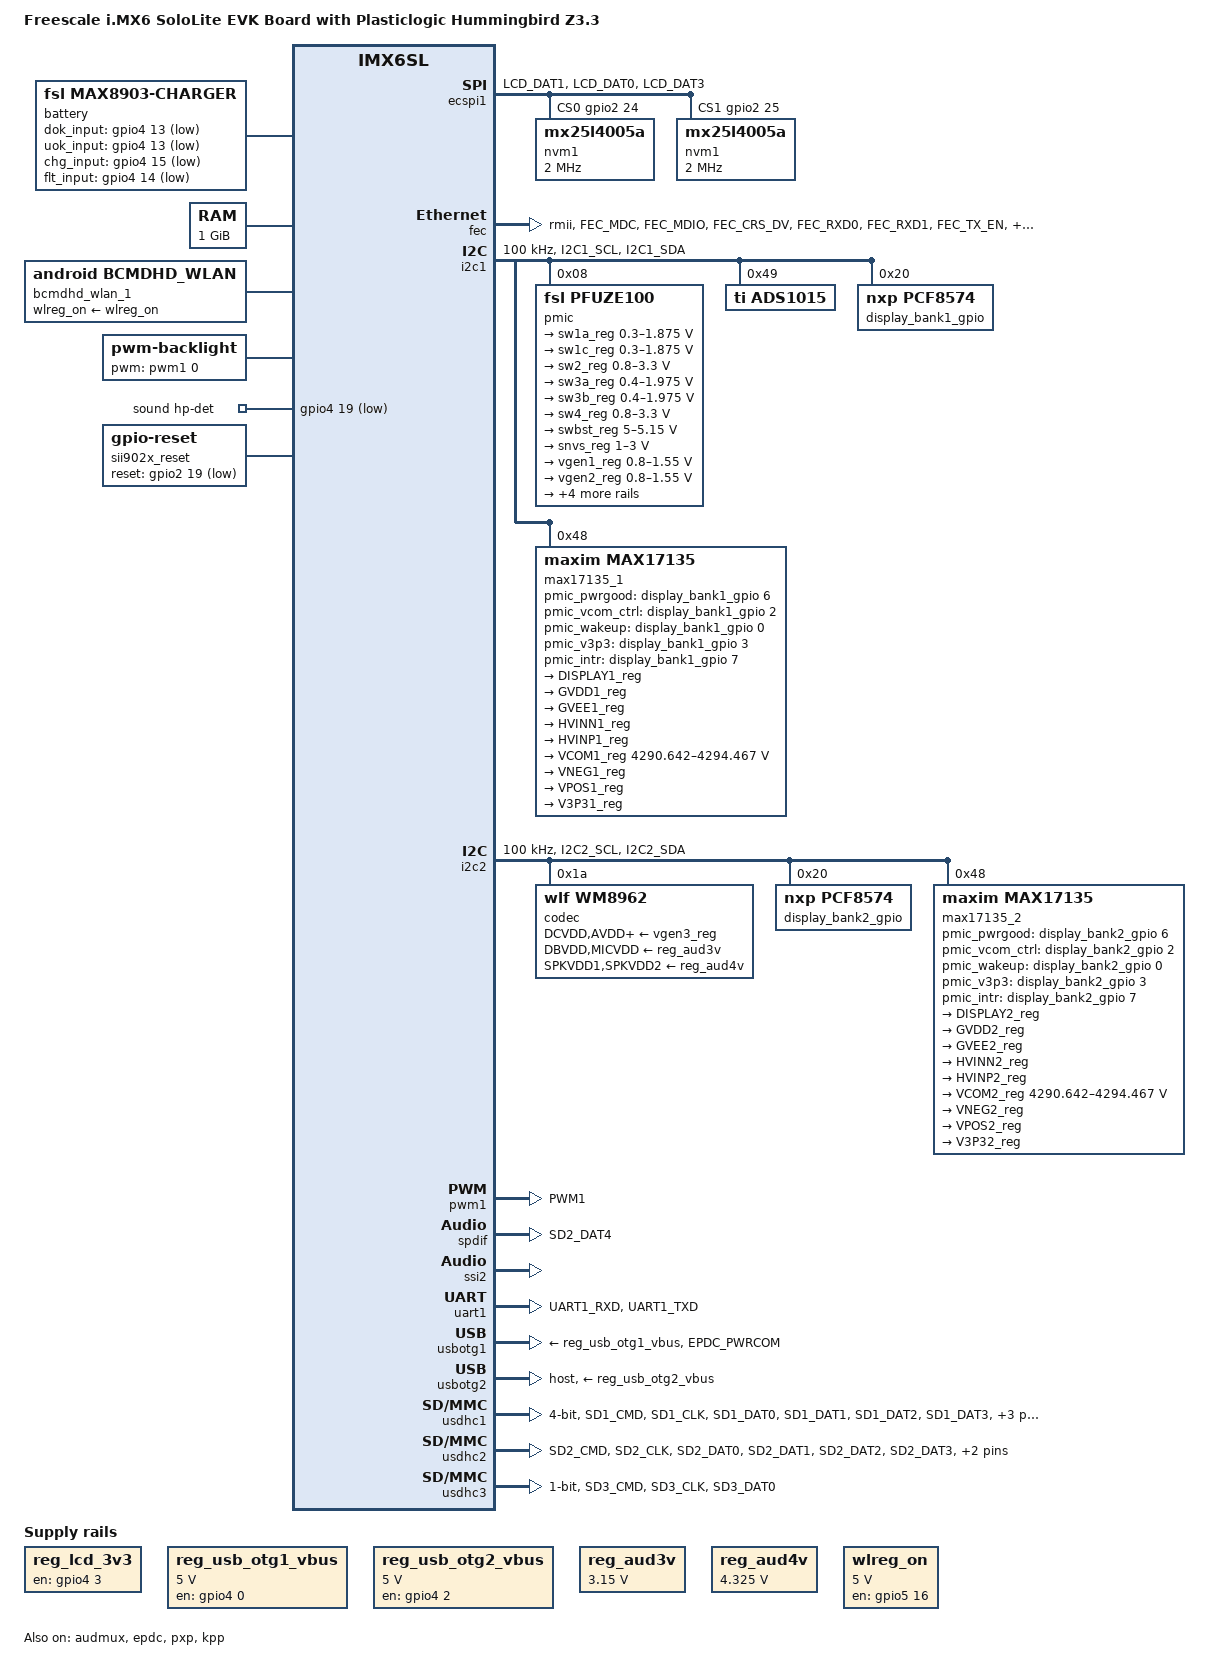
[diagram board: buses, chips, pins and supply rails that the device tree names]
/*
 * Copyright (C) 2013-2014 Freescale Semiconductor, Inc.
 *
 * This program is free software; you can redistribute it and/or modify
 * it under the terms of the GNU General Public License version 2 as
 * published by the Free Software Foundation.
 */

/dts-v1/;
#include <dt-bindings/gpio/gpio.h>
#include <dt-bindings/interrupt-controller/irq.h>
#include <dt-bindings/input/input.h>
#include "imx6sl.dtsi"

/ {
	model = "Freescale i.MX6 SoloLite EVK Board with Plasticlogic Hummingbird Z3.3";
	compatible = "fsl,imx6sl-evk", "fsl,imx6sl";

	battery: max8903@0 {
		compatible = "fsl,max8903-charger";
		pinctrl-names = "default";
		dok_input = <&gpio4 13 1>;
		uok_input = <&gpio4 13 1>;
		chg_input = <&gpio4 15 1>;
		flt_input = <&gpio4 14 1>;
		fsl,dcm_always_high;
		fsl,dc_valid;
		fsl,adc_disable;
		status = "okay";
	};

	memory {
		reg = <0x80000000 0x40000000>;
	};

	regulators {
		compatible = "simple-bus";
		#address-cells = <1>;
		#size-cells = <0>;

		reg_lcd_3v3: lcd-3v3 {
			compatible = "regulator-fixed";
			regulator-name = "lcd-3v3";
			gpio = <&gpio4 3 0>;
			enable-active-high;
		};

		reg_usb_otg1_vbus: regulator@0 {
			compatible = "regulator-fixed";
			reg = <0>;
			regulator-name = "usb_otg1_vbus";
			regulator-min-microvolt = <5000000>;
			regulator-max-microvolt = <5000000>;
			gpio = <&gpio4 0 0>;
			enable-active-high;
		};

		reg_usb_otg2_vbus: regulator@1 {
			compatible = "regulator-fixed";
			reg = <1>;
			regulator-name = "usb_otg2_vbus";
			regulator-min-microvolt = <5000000>;
			regulator-max-microvolt = <5000000>;
			gpio = <&gpio4 2 0>;
			enable-active-high;
		};

		reg_aud3v: regulator@2 {
			compatible = "regulator-fixed";
			reg = <2>;
			regulator-name = "wm8962-supply-3v15";
			regulator-min-microvolt = <3150000>;
			regulator-max-microvolt = <3150000>;
			regulator-boot-on;
		};

		reg_aud4v: regulator@3 {
			compatible = "regulator-fixed";
			reg = <3>;
			regulator-name = "wm8962-supply-4v2";
			regulator-min-microvolt = <4325000>;
			regulator-max-microvolt = <4325000>;
			regulator-boot-on;
		};
		wlreg_on: fixedregulator@100 {
			compatible = "regulator-fixed";
			regulator-min-microvolt = <5000000>;
			regulator-max-microvolt = <5000000>;
			regulator-name = "wlreg_on";
			gpio = <&gpio5 16 0>;
			startup-delay-us = <100>;
			enable-active-high;
		};

	};

	bcmdhd_wlan_1: bcmdhd_wlan@0 {
	       compatible = "android,bcmdhd_wlan";
	       wlreg_on-supply = <&wlreg_on>;
       };

	pwm-backlight {
		compatible = "pwm-backlight";
		pwms = <&pwm1 0 50000>;
		brightness-levels = <
			0  1  2  3  4  5  6  7  8  9
			10 11 12 13 14 15 16 17 18 19
			20 21 22 23 24 25 26 27 28 29
			30 31 32 33 34 35 36 37 38 39
			40 41 42 43 44 45 46 47 48 49
			50 51 52 53 54 55 56 57 58 59
			60 61 62 63 64 65 66 67 68 69
			70 71 72 73 74 75 76 77 78 79
			80 81 82 83 84 85 86 87 88 89
			90 91 92 93 94 95 96 97 98 99
			100 101 102 103 104 105 106 107 108 109
			110 111 112 113 114 115 116 117 118 119
			120 121 122 123 124 125 126 127 128 129
			130 131 132 133 134 135 136 137 138 139
			140 141 142 143 144 145 146 147 148 149
			150 151 152 153 154 155 156 157 158 159
			160 161 162 163 164 165 166 167 168 169
			170 171 172 173 174 175 176 177 178 179
			180 181 182 183 184 185 186 187 188 189
			190 191 192 193 194 195 196 197 198 199
			200 201 202 203 204 205 206 207 208 209
			210 211 212 213 214 215 216 217 218 219
			220 221 222 223 224 225 226 227 228 229
			230 231 232 233 234 235 236 237 238 239
			240 241 242 243 244 245 246 247 248 249
			250 251 252 253 254 255
			>;
		default-brightness-level = <255>;
	};

	ramoops_device {
		compatible = "fsl,mxc_ramoops";
		record_size = <524288>; /*512K*/
		console_size= <262144>; /*256K*/
		ftrace_size= <262144>;  /*256K*/
		dump_oops = <1>;
		status = "okay";
	};

	pxp_v4l2_out {
		compatible = "fsl,imx6sl-pxp-v4l2";
		status = "okay";
	};

	sound {
		compatible = "fsl,imx6q-sabresd-wm8962",
			   "fsl,imx-audio-wm8962";
		model = "wm8962-audio";
		cpu-dai = <&ssi2>;
		audio-codec = <&codec>;
		audio-routing =
			"Headphone Jack", "HPOUTL",
			"Headphone Jack", "HPOUTR",
			"Ext Spk", "SPKOUTL",
			"Ext Spk", "SPKOUTR",
			"AMIC", "MICBIAS",
			"IN3R", "AMIC";
		amic-mono;
		mux-int-port = <2>;
		mux-ext-port = <3>;
		hp-det-gpios = <&gpio4 19 1>;
	};

	sound-spdif {
		compatible = "fsl,imx-audio-spdif",
			   "fsl,imx6sl-evk-spdif";
		model = "imx-spdif";
		spdif-controller = <&spdif>;
		spdif-out;
	};

	sii902x_reset: sii902x-reset {
		compatible = "gpio-reset";
		reset-gpios = <&gpio2 19 1>;
		reset-delay-us = <100000>;
		#reset-cells = <0>;
	};
};

&audmux {
	pinctrl-names = "default";
	pinctrl-0 = <&pinctrl_audmux>;
	status = "okay";
};

&clks {
	assigned-clocks = <&clks IMX6SL_PLL4_BYPASS_SRC>,
			  <&clks IMX6SL_PLL4_BYPASS>,
			  <&clks IMX6SL_CLK_EXTERN_AUDIO_SEL>,
			  <&clks IMX6SL_CLK_EXTERN_AUDIO>,
			  <&clks IMX6SL_CLK_PLL4_POST_DIV>;
	assigned-clock-parents = <&clks IMX6SL_CLK_OSC>,
				<&clks IMX6SL_PLL4_BYPASS_SRC>,
				<&clks IMX6SL_CLK_PLL4_AUDIO_DIV>;
	assigned-clock-rates = <0>, <0>, <0>, <24000000>,
				<24000000>;
};
/*
&csi {
	port {
		csi_ep: endpoint {
			remote-endpoint = <&ov5640_ep>;
		};
	};
};
*/
&cpu0 {
	arm-supply = <&sw1a_reg>;
	soc-supply = <&sw1c_reg>;
};
/*
&ecspi1 {
	fsl,spi-num-chipselects = <1>;
	cs-gpios = <&gpio4 11 0>;
	pinctrl-names = "default";
	pinctrl-0 = <&pinctrl_ecspi1>;
	status = "okay";

	flash: m25p80@0 {
		#address-cells = <1>;
		#size-cells = <1>;
		compatible = "st,m25p32";
		spi-max-frequency = <20000000>;
		reg = <0>;
	};
};
*/

&ecspi1 {
	fsl,spi-num-chipselects = <2>;
	/* lcd_dat4 lcd_dat5 */
	cs-gpios =  <&gpio2 24 0>, 
				<&gpio2 25 0>;
	pinctrl-names = "default";
	pinctrl-0 = <&pinctrl_ecspi1>;
	status = "okay";
	/* NVM Flash on Plasticlogic Display */
	nvm1@0 {
		#address-cells = <1>;
		#size-cells = <1>;
		/*compatible = "st,m25p32";*/
		compatible = "mx25l4005a";
		reg = <0>;
		spi-max-frequency = <2000000>;
		mode = <0>;
		waveform@35000 {
			reg = <0x00035000 0x0003AFFF>;
			label = "waveform0";
			read-only;
		};
		partno@70000 {
			reg = <0x00070000 0x0000000F>;
			label = "partnumber0";
			read-only;
		};
		vcom@70010 {
			reg = <0x00070010 0x0000000F>;
			label = "vcom0";
			read-only;
		};
		wfname@70020 {
			reg = <0x00070020 0x0000001F>;
			label = "wfname0";
			read-only;
		};
		wflength@700AC {
			reg = <0x000700AC 0x00000004>;
			label = "wflength0";
			read-only;
		};
	};
	nvm1@1 {
		#address-cells = <1>;
		#size-cells = <1>;
		/*compatible = "st,m25p32";*/
		compatible = "mx25l4005a";
		reg = <1>;
		spi-max-frequency = <2000000>;
		mode = <0>;
		waveform@35000 {
			reg = <0x00035000 0x0003AFFF>;
			label = "waveform1";
			read-only;
		};
		partno@70000 {
			reg = <0x00070000 0x0000000F>;
			label = "partnumber1";
			read-only;
		};
		vcom@70010 {
			reg = <0x00070010 0x0000000F>;
			label = "vcom1";
			read-only;
		};
		wfname@70020 {
			reg = <0x00070020 0x0000001F>;
			label = "wfname1";
			read-only;
		};
		wflength@700AC {
			reg = <0x000700AC 0x00000004>;
			label = "wflength1";
			read-only;
		};
		
	};					
	
};


&epdc {
        pinctrl-names = "default";
        pinctrl-0 = <&pinctrl_epdc_0>;
        V3P3_1-supply = <&V3P31_reg>;
        VCOM1-supply = <&VCOM1_reg>;
        DISPLAY1-supply = <&DISPLAY1_reg>;
		V3P3_2-supply = <&V3P32_reg>;
        VCOM2-supply = <&VCOM2_reg>;
        DISPLAY2-supply = <&DISPLAY2_reg>;

	VCOM_SW1_gpio = <&display_bank1_gpio 1 0>;
	VCOM_SW2_gpio = <&display_bank2_gpio 1 0>;
	VS_LOW_SW1_gpio = <&display_bank1_gpio 4 0>;
	VS_HIGH_SW1_gpio = <&display_bank1_gpio 5 0>;
	VS_LOW_SW2_gpio = <&display_bank2_gpio 4 0>;
	VS_HIGH_SW2_gpio = <&display_bank2_gpio 5 0>;
        status = "okay";
};

&fec {
	pinctrl-names = "default", "sleep";
	pinctrl-0 = <&pinctrl_fec>;
	pinctrl-1 = <&pinctrl_fec_sleep>;
	phy-mode = "rmii";
	status = "okay";
};

&gpc {
	/* use ldo-bypass, u-boot will check it and configure */
	fsl,ldo-bypass = <1>;
	/* watchdog select of reset source */
	fsl,wdog-reset = <1>;
};

&i2c1 {
	clock-frequency = <100000>;
	pinctrl-names = "default";
	pinctrl-0 = <&pinctrl_i2c1>;
	status = "okay";

	pmic: pfuze100@08 {
		compatible = "fsl,pfuze100";
		reg = <0x08>;

		regulators {
			sw1a_reg: sw1ab {
				regulator-min-microvolt = <300000>;
				regulator-max-microvolt = <1875000>;
				regulator-boot-on;
				regulator-always-on;
				regulator-ramp-delay = <6250>;
			};

			sw1c_reg: sw1c {
				regulator-min-microvolt = <300000>;
				regulator-max-microvolt = <1875000>;
				regulator-boot-on;
				regulator-always-on;
				regulator-ramp-delay = <6250>;
			};

			sw2_reg: sw2 {
				regulator-min-microvolt = <800000>;
				regulator-max-microvolt = <3300000>;
				regulator-boot-on;
				regulator-always-on;
			};

			sw3a_reg: sw3a {
				regulator-min-microvolt = <400000>;
				regulator-max-microvolt = <1975000>;
				regulator-boot-on;
				regulator-always-on;
			};

			sw3b_reg: sw3b {
				regulator-min-microvolt = <400000>;
				regulator-max-microvolt = <1975000>;
				regulator-boot-on;
				regulator-always-on;
			};

			sw4_reg: sw4 {
				regulator-min-microvolt = <800000>;
				regulator-max-microvolt = <3300000>;
			};

			swbst_reg: swbst {
				regulator-min-microvolt = <5000000>;
				regulator-max-microvolt = <5150000>;
			};

			snvs_reg: vsnvs {
				regulator-min-microvolt = <1000000>;
				regulator-max-microvolt = <3000000>;
				regulator-boot-on;
				regulator-always-on;
			};

			vref_reg: vrefddr {
				regulator-boot-on;
				regulator-always-on;
			};

			vgen1_reg: vgen1 {
				regulator-min-microvolt = <800000>;
				regulator-max-microvolt = <1550000>;
				regulator-always-on;
			};

			vgen2_reg: vgen2 {
				regulator-min-microvolt = <800000>;
				regulator-max-microvolt = <1550000>;
			};

			vgen3_reg: vgen3 {
				regulator-min-microvolt = <1800000>;
				regulator-max-microvolt = <3300000>;
				regulator-always-on;
			};

			vgen4_reg: vgen4 {
				regulator-min-microvolt = <1800000>;
				regulator-max-microvolt = <3300000>;
				regulator-always-on;
			};

			vgen5_reg: vgen5 {
				regulator-min-microvolt = <1800000>;
				regulator-max-microvolt = <3300000>;
				regulator-always-on;
			};

			vgen6_reg: vgen6 {
				regulator-min-microvolt = <1800000>;
				regulator-max-microvolt = <3300000>;
				regulator-always-on;
			};
		};
	};

	elan@10 {
		compatible = "elan,elan-touch";
		reg = <0x10>;
		interrupt-parent = <&gpio2>;
		interrupts = <10 2>;
		gpio_elan_cs = <&gpio2 9 0>;
		gpio_elan_rst = <&gpio4 4 0>;
		gpio_intr = <&gpio2 10 0>;
		status = "disabled";
	};

	mma8450@1c {
		compatible = "fsl,mma8450";
		reg = <0x1c>;
		status = "disabled";
	};

	/* PL ADC device */
	ads1015@49 {
		compatible = "ti,ads1015";
		reg = <0x49>;
		#address-cells = <1>;
		#size-cells = <0>;

		/*VCOM1*/
		channel@4 {
			reg = <4>;
			ti,gain = <2>;
			ti,datarate = <6>;
		};
		/*VCOM2*/
		channel@5 {
			reg = <5>;
			ti,gain = <2>;
			ti,datarate = <2>;
		};
		/*DISP1 current*/
		channel@6 {
			reg = <6>;
			ti,gain = <2>;
			ti,datarate = <0>;
		};
		/*DISP2 current*/
		channel@7 {
			reg = <7>;
			ti,gain = <2>;
			ti,datarate = <4>;
		};
	};
	
	/* PL GPIO Port Expander for Display 1*/
		/* HV_EN1 */
		/* COM_SW1 */
		/* COM_EN1 */
		/* Disp1_PWR */
		/* VSL_SW1 */
		/* VSH_SW1 */
		/* HV_POK1 */
		/* PMIC1_FLT */
	display_bank1_gpio: gpio@20 {
		compatible = "nxp,pcf8574";
		reg = <0x20>;
		/*interrupt-parent = <&i2c1>;*/
		/*interrupts = <3 0>;*/
		gpio-controller;
		#gpio-cells = <2>;
		/*gpio-ranges = <&pinctrl_display_bank1 0 0 8>;*/
		/*interrupt-controller;*/
		/*#interrupt-cells = <2>;*/
	};

	max17135_1@48 {
		compatible = "maxim,max17135" , "maxim,max17135-sensor";
		reg = <0x48>;
		vneg_pwrup = <0>;
		gvee_pwrup = <0>;
		vpos_pwrup = <2>;
		gvdd_pwrup = <5>;
		gvdd_pwrdn = <0>;
		vpos_pwrdn = <0>;
		gvee_pwrdn = <0>;
		vneg_pwrdn = <1>;
		gpio_pmic_pwrgood = <&display_bank1_gpio 6 0>;
		gpio_pmic_vcom_ctrl = <&display_bank1_gpio 2 0>;
		gpio_pmic_wakeup = <&display_bank1_gpio 0 0>;
		gpio_pmic_v3p3 = <&display_bank1_gpio 3 0>;
		gpio_pmic_intr = <&display_bank1_gpio 7 0>;
		status = "okay";
		sensors {
			INTERNAL1_sensor: INTERNAL {
				sensor-name = "INTERNAL_1";
			};
			EXTERNAL1_sensor: EXTERNAL {
				sensor-name = "EXTERNAL_1";
			};
		};
		regulators {
			DISPLAY1_reg: DISPLAY {
				regulator-name = "DISPLAY_1";
			};

			GVDD1_reg: GVDD {
				regulator-name = "GVDD_1";
			};

			GVEE1_reg: GVEE {
				regulator-name = "GVEE_1";
			};

			HVINN1_reg: HVINN {
				regulator-name = "HVINN_1";
			};

			HVINP1_reg: HVINP {
				regulator-name = "HVINP_1";
			};

			VCOM1_reg: VCOM {
				regulator-name = "VCOM_1";
				regulator-min-microvolt = <0xffbe0178>;
				regulator-max-microvolt = <0xfff85ee0>;
			};

			VNEG1_reg: VNEG {
				regulator-name = "VNEG_1";
			};

			VPOS1_reg: VPOS {
				regulator-name = "VPOS_1";
			};

			V3P31_reg: V3P3 {
				regulator-name = "V3P3_1";
			};
		};
	};

};

&i2c2 {
	clock-frequency = <100000>;
	pinctrl-names = "default";
	pinctrl-0 = <&pinctrl_i2c2>;
	status = "okay";

	codec: wm8962@1a {
		compatible = "wlf,wm8962";
		reg = <0x1a>;
		clocks = <&clks IMX6SL_CLK_EXTERN_AUDIO>;
		DCVDD-supply = <&vgen3_reg>;
		DBVDD-supply = <&reg_aud3v>;
		AVDD-supply = <&vgen3_reg>;
		CPVDD-supply = <&vgen3_reg>;
		MICVDD-supply = <&reg_aud3v>;
		PLLVDD-supply = <&vgen3_reg>;
		SPKVDD1-supply = <&reg_aud4v>;
		SPKVDD2-supply = <&reg_aud4v>;
		amic-mono;
	};
/*
	sii902x@39 {
		compatible = "SiI,sii902x";
		interrupt-parent = <&gpio2>;
		interrupts = <10 2>;
		mode_str ="1280x720M@60";
		bits-per-pixel = <32>;
		resets = <&sii902x_reset>;
		reg = <0x39>;
	};
*/
	/* PL GPIO Port Expander for Display 2*/
		/* HV_EN2 */
		/* COM_SW2 */
		/* COM_EN2 */
		/* Disp2_PWR */
		/* VSL_SW2 */
		/* VSH_SW2 */
		/* HV_POK2 */
		/* PMIC2_FLT */
	display_bank2_gpio: gpio@20 {
		compatible = "nxp,pcf8574";
		reg = <0x20>;
		/*interrupt-parent = <&i2c2>;*/
		/*interrupts = <3 0>;*/
		gpio-controller;
		#gpio-cells = <2>;
		/*gpio-ranges = <&pinctrl_display_bank2 0 0 8>;*/
		/*interrupt-controller;*/
		/*#interrupt-cells = <2>;*/
	};
	
	max17135_2@48 {
		compatible = "maxim,max17135";
		reg = <0x48>;
		vneg_pwrup = <0>;
		gvee_pwrup = <0>;
		vpos_pwrup = <2>;
		gvdd_pwrup = <5>;
		gvdd_pwrdn = <0>;
		vpos_pwrdn = <0>;
		gvee_pwrdn = <0>;
		vneg_pwrdn = <1>;
		gpio_pmic_pwrgood = <&display_bank2_gpio 6 0>;
		gpio_pmic_vcom_ctrl = <&display_bank2_gpio 2 0>;
		gpio_pmic_wakeup = <&display_bank2_gpio 0 0>;
		gpio_pmic_v3p3 = <&display_bank2_gpio 3 0>;
		gpio_pmic_intr = <&display_bank2_gpio 7 0>;
		status = "okay";
		sensors {
			INTERNAL2_sensor: INTERNAL {
				sensor-name = "INTERNAL_2";
			};
			EXTERNAL2_sensor: EXTERNAL {
				sensor-name = "EXTERNAL_2";
			};
		};
		regulators {
			DISPLAY2_reg: DISPLAY {
				regulator-name = "DISPLAY_2";
			};

			GVDD2_reg: GVDD {
				regulator-name = "GVDD_2";
			};

			GVEE2_reg: GVEE {
				regulator-name = "GVEE_2";
			};

			HVINN2_reg: HVINN {
				regulator-name = "HVINN_2";
			};

			HVINP2_reg: HVINP {
				regulator-name = "HVINP_2";
			};

			VCOM2_reg: VCOM {
				regulator-name = "VCOM_2";
				regulator-min-microvolt = <0xffbe0178>;
				regulator-max-microvolt = <0xfff85ee0>;
			};

			VNEG2_reg: VNEG {
				regulator-name = "VNEG_2";
			};

			VPOS2_reg: VPOS {
				regulator-name = "VPOS_2";
			};

			V3P32_reg: V3P3 {
				regulator-name = "V3P3_2";
			};
		};
	};
};

&i2c3 {
	clock-frequency = <100000>;
	pinctrl-names = "default";
	pinctrl-0 = <&pinctrl_i2c3>;
	status = "disabled";
/*
	ov5640: ov5640@3c {
		compatible = "ovti,ov5640";
		reg = <0x3c>;
		pinctrl-names = "default";
		pinctrl-0 = <&pinctrl_csi_0>;
		clocks = <&clks IMX6SL_CLK_CSI>;
		clock-names = "csi_mclk";
		AVDD-supply = <&vgen6_reg>;  
		DVDD-supply = <&vgen2_reg>;  
		pwn-gpios = <&gpio1 25 1>;
		rst-gpios = <&gpio1 26 0>;
		csi_id = <0>;
		mclk = <24000000>;
		mclk_source = <0>;
		port {
			ov5640_ep: endpoint {
				remote-endpoint = <&csi_ep>;
			};
		};
	};
*/
};

&iomuxc {
	pinctrl-names = "default";
	pinctrl-0 = <&pinctrl_hog>;

	imx6sl-evk {
		pinctrl_hog: hoggrp {
			fsl,pins = <
				MX6SL_PAD_KEY_ROW7__GPIO4_IO07    0x17059
				MX6SL_PAD_KEY_COL7__GPIO4_IO06    0x17059
				MX6SL_PAD_SD2_DAT7__GPIO5_IO00    0x17059
				MX6SL_PAD_SD2_DAT6__GPIO4_IO29    0x17059
				MX6SL_PAD_REF_CLK_32K__GPIO3_IO22 0x17059
				MX6SL_PAD_KEY_COL4__GPIO4_IO00	0x80000000
				MX6SL_PAD_KEY_COL5__GPIO4_IO02	0x80000000
				MX6SL_PAD_ECSPI2_MISO__GPIO4_IO14 0x17000
				MX6SL_PAD_ECSPI2_MOSI__GPIO4_IO13 0x17000
				MX6SL_PAD_ECSPI2_SS0__GPIO4_IO15  0x17000
				MX6SL_PAD_FEC_RX_ER__GPIO4_IO19   0x1b0b0
				/*MX6SL_PAD_EPDC_PWRCTRL3__GPIO2_IO10 0x17000*/
				/*MX6SL_PAD_EPDC_PWRCTRL2__GPIO2_IO09 0x80000000*/
				MX6SL_PAD_KEY_COL6__GPIO4_IO04    0x110b0
				MX6SL_PAD_LCD_RESET__GPIO2_IO19   0x1b0b0
				/*MX6SL_PAD_EPDC_PWRCOM__GPIO2_IO11 0x80000000*/
				/*MX6SL_PAD_EPDC_VCOM0__GPIO2_IO03 0x80000000*/
				/*MX6SL_PAD_EPDC_VCOM1__GPIO2_IO04 0x80000000*/
				/*MX6SL_PAD_EPDC_PWRCTRL0__GPIO2_IO07 0x80000000*/
				/*MX6SL_PAD_EPDC_PWRSTAT__GPIO2_IO13 0x80000000*/
				/*MX6SL_PAD_EPDC_PWRWAKEUP__GPIO2_IO14 0x80000000*/
				MX6SL_PAD_ECSPI1_MISO__GPIO4_IO10	0x100b1
				MX6SL_PAD_ECSPI1_MOSI__GPIO4_IO09	0x100b1
				MX6SL_PAD_ECSPI1_SCLK__GPIO4_IO08	0x100b1
				/*MX6SL_PAD_LCD_DAT2__GPIO2_IO22 0x1b0b0*/
				/*MX6SL_PAD_LCD_DAT4__GPIO2_IO24 0x1b0b0*/
				/*MX6SL_PAD_LCD_DAT5__GPIO2_IO25 0x1b0b0*/
				/*MX6SL_PAD_LCD_DAT6__GPIO2_IO26 0x1b0b0*/
			>;
		};

                pinctrl_audmux: audmuxgrp {
                        fsl,pins = <
                                MX6SL_PAD_AUD_RXD__AUD3_RXD       0x4130b0
                                MX6SL_PAD_AUD_TXC__AUD3_TXC       0x4130b0
                                MX6SL_PAD_AUD_TXD__AUD3_TXD       0x4110b0
                                MX6SL_PAD_AUD_TXFS__AUD3_TXFS     0x4130b0
                                MX6SL_PAD_AUD_MCLK__AUDIO_CLK_OUT 0x4130b0
                        >;
                };


		pinctrl_ecspi1: ecspi1grp {
			fsl,pins = <
				MX6SL_PAD_LCD_DAT1__ECSPI1_MISO	0x1b0b0
				MX6SL_PAD_LCD_DAT0__ECSPI1_MOSI	0x1b0b0
				MX6SL_PAD_LCD_DAT3__ECSPI1_SCLK	0x1b0b0
				/*MX6SL_PAD_LCD_DAT2__ECSPI1_SS0	0x1b0b0
				MX6SL_PAD_LCD_DAT4__ECSPI1_SS1	0x1b0b0
				MX6SL_PAD_LCD_DAT5__ECSPI1_SS2	0x1b0b0*/

			/*
				MX6SL_PAD_ECSPI1_MISO__ECSPI1_MISO	0x100b1
				MX6SL_PAD_ECSPI1_MOSI__ECSPI1_MOSI	0x100b1
				MX6SL_PAD_ECSPI1_SCLK__ECSPI1_SCLK	0x100b1
				*/
			>;
		};
		
		pinctrl_ecspi2: ecspi2grp {
			fsl,pins = <
				MX6SL_PAD_ECSPI2_MISO__ECSPI2_MISO	0x100b1
				MX6SL_PAD_ECSPI2_MOSI__ECSPI2_MOSI	0x100b1
				MX6SL_PAD_ECSPI2_SCLK__ECSPI2_SCLK	0x100b1
			>;
		};

        pinctrl_epdc_0: epdcgrp-0 {
             fsl,pins = <
				MX6SL_PAD_EPDC_D0__EPDC_DATA00  0x80000000
				MX6SL_PAD_EPDC_D1__EPDC_DATA01  0x80000000
				MX6SL_PAD_EPDC_D2__EPDC_DATA02  0x80000000
				MX6SL_PAD_EPDC_D3__EPDC_DATA03  0x80000000
				MX6SL_PAD_EPDC_D4__EPDC_DATA04  0x80000000
				MX6SL_PAD_EPDC_D5__EPDC_DATA05  0x80000000
				MX6SL_PAD_EPDC_D6__EPDC_DATA06  0x80000000
				MX6SL_PAD_EPDC_D7__EPDC_DATA07  0x80000000
				MX6SL_PAD_EPDC_D8__EPDC_DATA08  0x80000000
				MX6SL_PAD_EPDC_D9__EPDC_DATA09  0x80000000
				MX6SL_PAD_EPDC_D10__EPDC_DATA10 0x80000000
				MX6SL_PAD_EPDC_D11__EPDC_DATA11 0x80000000
				MX6SL_PAD_EPDC_D12__EPDC_DATA12 0x80000000
				MX6SL_PAD_EPDC_D13__EPDC_DATA13 0x80000000
				MX6SL_PAD_EPDC_D14__EPDC_DATA14 0x80000000
				MX6SL_PAD_EPDC_D15__EPDC_DATA15 0x80000000
				MX6SL_PAD_EPDC_GDCLK__EPDC_GDCLK 0x80000000
				MX6SL_PAD_EPDC_GDSP__EPDC_GDSP   0x80000000
				MX6SL_PAD_EPDC_GDOE__EPDC_GDOE   0x80000000
				MX6SL_PAD_EPDC_GDRL__EPDC_GDRL   0x80000000
				MX6SL_PAD_EPDC_SDCLK__EPDC_SDCLK_P 0x80000000
				MX6SL_PAD_EPDC_SDOE__EPDC_SDOE   0x80000000
				MX6SL_PAD_EPDC_SDLE__EPDC_SDLE   0x80000000
				MX6SL_PAD_EPDC_SDSHR__EPDC_SDSHR 0x80000000
				MX6SL_PAD_EPDC_BDR0__EPDC_BDR0   0x80000000
				MX6SL_PAD_EPDC_SDCE0__EPDC_SDCE0 0x80000000
				MX6SL_PAD_EPDC_SDCE1__EPDC_SDCE1 0x80000000
				MX6SL_PAD_EPDC_SDCE2__EPDC_SDCE2 0x80000000
                        >;
                };
/*
		pinctrl_epdc_pl_init: epdcgrp-1 {
			fsl,pins = <
				MX6SL_PAD_EPDC_GDCLK__GPIO1_IO31	0x80000000
				MX6SL_PAD_EPDC_GDSP__GPIO2_IO02		0x80000000
			>;
		};
		
		pinctrl_epdc_pl_init: epdcgrp-1 {
			fsl,pins = <
				MX6SL_PAD_EPDC_GDCLK__GPIO1_IO31	0x80000000
				MX6SL_PAD_EPDC_GDSP__GPIO2_IO02		0x80000000
			>;
		};
*/
		pinctrl_fec: fecgrp {
			fsl,pins = <
				MX6SL_PAD_FEC_MDC__FEC_MDC		0x1b0b0
				MX6SL_PAD_FEC_MDIO__FEC_MDIO		0x1b0b0
				MX6SL_PAD_FEC_CRS_DV__FEC_RX_DV		0x1b0b0
				MX6SL_PAD_FEC_RXD0__FEC_RX_DATA0	0x1b0b0
				MX6SL_PAD_FEC_RXD1__FEC_RX_DATA1	0x1b0b0
				MX6SL_PAD_FEC_TX_EN__FEC_TX_EN		0x1b0b0
				MX6SL_PAD_FEC_TXD0__FEC_TX_DATA0	0x1b0b0
				MX6SL_PAD_FEC_TXD1__FEC_TX_DATA1	0x1b0b0
				MX6SL_PAD_FEC_REF_CLK__FEC_REF_OUT	0x4001b0a8
			>;
		};

		pinctrl_fec_sleep: fecgrp-sleep {
			fsl,pins = <
				MX6SL_PAD_FEC_MDC__GPIO4_IO23		0x3080
				MX6SL_PAD_FEC_MDIO__GPIO4_IO20		0x3080
				MX6SL_PAD_FEC_CRS_DV__GPIO4_IO25	0x3080
				MX6SL_PAD_FEC_RXD0__GPIO4_IO17		0x3080
				MX6SL_PAD_FEC_RXD1__GPIO4_IO18		0x3080
				MX6SL_PAD_FEC_TX_EN__GPIO4_IO22		0x3080
				MX6SL_PAD_FEC_TXD0__GPIO4_IO24		0x3080
				MX6SL_PAD_FEC_TXD1__GPIO4_IO16		0x3080
				MX6SL_PAD_FEC_REF_CLK__GPIO4_IO26	0x3080
			>;
		};

		pinctrl_i2c1: i2c1grp {
			fsl,pins = <
				MX6SL_PAD_I2C1_SCL__I2C1_SCL 0x4001b8b1
				MX6SL_PAD_I2C1_SDA__I2C1_SDA 0x4001b8b1
			>;
		};

		pinctrl_i2c2: i2c2grp {
			fsl,pins = <
				MX6SL_PAD_I2C2_SCL__I2C2_SCL 0x4001b8b1
				MX6SL_PAD_I2C2_SDA__I2C2_SDA 0x4001b8b1
			>;
		};

		pinctrl_i2c3: i2c3grp {
			fsl,pins = <
				MX6SL_PAD_EPDC_SDCE2__I2C3_SCL 0x4001b8b1
				MX6SL_PAD_EPDC_SDCE3__I2C3_SDA 0x4001b8b1
			>;
		};

		pinctrl_kpp: kppgrp {
			fsl,pins = <
				MX6SL_PAD_KEY_ROW0__KEY_ROW0    0x1b010
				MX6SL_PAD_KEY_ROW1__KEY_ROW1    0x1b010
				MX6SL_PAD_KEY_ROW2__KEY_ROW2    0x1b0b0
				MX6SL_PAD_KEY_COL0__KEY_COL0    0x110b0
				MX6SL_PAD_KEY_COL1__KEY_COL1    0x110b0
				MX6SL_PAD_KEY_COL2__KEY_COL2    0x110b0
			>;
		};

		pinctrl_lcdif_dat: lcdifdatgrp {
			fsl,pins = <
			/*
				MX6SL_PAD_LCD_DAT0__LCD_DATA00 0x1b0b0
				MX6SL_PAD_LCD_DAT1__LCD_DATA01 0x1b0b0
				MX6SL_PAD_LCD_DAT2__LCD_DATA02 0x1b0b0
				MX6SL_PAD_LCD_DAT3__LCD_DATA03 0x1b0b0
				MX6SL_PAD_LCD_DAT4__LCD_DATA04 0x1b0b0
				MX6SL_PAD_LCD_DAT5__LCD_DATA05 0x1b0b0*/
				MX6SL_PAD_LCD_DAT6__LCD_DATA06 0x1b0b0
				MX6SL_PAD_LCD_DAT7__LCD_DATA07 0x1b0b0
				MX6SL_PAD_LCD_DAT8__LCD_DATA08 0x1b0b0
				MX6SL_PAD_LCD_DAT9__LCD_DATA09 0x1b0b0
				MX6SL_PAD_LCD_DAT10__LCD_DATA10 0x1b0b0
				MX6SL_PAD_LCD_DAT11__LCD_DATA11 0x1b0b0
				MX6SL_PAD_LCD_DAT12__LCD_DATA12 0x1b0b0
				MX6SL_PAD_LCD_DAT13__LCD_DATA13 0x1b0b0
				MX6SL_PAD_LCD_DAT14__LCD_DATA14 0x1b0b0
				MX6SL_PAD_LCD_DAT15__LCD_DATA15 0x1b0b0
				MX6SL_PAD_LCD_DAT16__LCD_DATA16 0x1b0b0
				MX6SL_PAD_LCD_DAT17__LCD_DATA17 0x1b0b0
				MX6SL_PAD_LCD_DAT18__LCD_DATA18 0x1b0b0
				MX6SL_PAD_LCD_DAT19__LCD_DATA19 0x1b0b0
				MX6SL_PAD_LCD_DAT20__LCD_DATA20 0x1b0b0
				MX6SL_PAD_LCD_DAT21__LCD_DATA21 0x1b0b0
				MX6SL_PAD_LCD_DAT22__LCD_DATA22 0x1b0b0
				MX6SL_PAD_LCD_DAT23__LCD_DATA23 0x1b0b0
			>;
		};

		pinctrl_lcdif_ctrl: lcdifctrlgrp {
			fsl,pins = <
				MX6SL_PAD_LCD_CLK__LCD_CLK 0x1b0b0
				MX6SL_PAD_LCD_ENABLE__LCD_ENABLE 0x1b0b0
				MX6SL_PAD_LCD_HSYNC__LCD_HSYNC 0x1b0b0
				MX6SL_PAD_LCD_VSYNC__LCD_VSYNC 0x1b0b0
			>;
		};

		pinctrl_pwm1: pwm1grp {
			fsl,pins = <
				MX6SL_PAD_PWM1__PWM1_OUT 0x110b0
			>;
		};

		pinctrl_pwm1_sleep: pwm1grp-sleep {
			fsl,pins = <
				MX6SL_PAD_PWM1__GPIO3_IO23 0x3080
			>;
		};

		pinctrl_spdif: spdifgrp {
			fsl,pins = <
				MX6SL_PAD_SD2_DAT4__SPDIF_OUT 0x80000000
			>;
		};

		pinctrl_uart1: uart1grp {
			fsl,pins = <
				MX6SL_PAD_UART1_RXD__UART1_RX_DATA	0x1b0b1
				MX6SL_PAD_UART1_TXD__UART1_TX_DATA	0x1b0b1
			>;
		};

		pinctrl_uart4_1: uart4grp-1 {
			fsl,pins = <
				MX6SL_PAD_SD1_DAT4__UART4_RX_DATA	0x1b0b1
				MX6SL_PAD_SD1_DAT5__UART4_TX_DATA	0x1b0b1
				MX6SL_PAD_SD1_DAT7__UART4_CTS_B		0x1b0b1
				MX6SL_PAD_SD1_DAT6__UART4_RTS_B		0x1b0b1
			>;
		};

		pinctrl_uart4dte_1: uart4dtegrp-1 {
			fsl,pins = <
				MX6SL_PAD_SD1_DAT5__UART4_RX_DATA	0x1b0b1
				MX6SL_PAD_SD1_DAT4__UART4_TX_DATA	0x1b0b1
				MX6SL_PAD_SD1_DAT6__UART4_CTS_B		0x1b0b1
				MX6SL_PAD_SD1_DAT7__UART4_RTS_B		0x1b0b1
			>;
		};

		pinctrl_usbotg1: usbotg1grp {
			fsl,pins = <
				/*MX6SL_PAD_LCD_DAT1__USB_OTG1_ID	0x1b0b0*/
				MX6SL_PAD_EPDC_PWRCOM__USB_OTG1_ID	0x17059
			>;
		};
		
		pinctrl_usdhc1: usdhc1grp {
			fsl,pins = <
				MX6SL_PAD_SD1_CMD__SD1_CMD		0x17059
				MX6SL_PAD_SD1_CLK__SD1_CLK		0x10059
				MX6SL_PAD_SD1_DAT0__SD1_DATA0		0x17059
				MX6SL_PAD_SD1_DAT1__SD1_DATA1		0x17059
				MX6SL_PAD_SD1_DAT2__SD1_DATA2		0x17059
				MX6SL_PAD_SD1_DAT3__SD1_DATA3		0x17059
				MX6SL_PAD_SD3_DAT2__GPIO5_IO16		0x13069 /* WL_REG_ON */
			>;
		};

		pinctrl_usdhc1_100mhz: usdhc1grp100mhz {
			fsl,pins = <
				MX6SL_PAD_SD1_CMD__SD1_CMD		0x170b9
				MX6SL_PAD_SD1_CLK__SD1_CLK		0x100b9
				MX6SL_PAD_SD1_DAT0__SD1_DATA0		0x170b9
				MX6SL_PAD_SD1_DAT1__SD1_DATA1		0x170b9
				MX6SL_PAD_SD1_DAT2__SD1_DATA2		0x170b9
				MX6SL_PAD_SD1_DAT3__SD1_DATA3		0x170b9
				MX6SL_PAD_SD1_DAT4__SD1_DATA4		0x170b9
				MX6SL_PAD_SD1_DAT5__SD1_DATA5		0x170b9
				MX6SL_PAD_SD1_DAT6__SD1_DATA6		0x170b9
				MX6SL_PAD_SD1_DAT7__SD1_DATA7		0x170b9
			>;
		};

		pinctrl_usdhc1_200mhz: usdhc1grp200mhz {
			fsl,pins = <
				MX6SL_PAD_SD1_CMD__SD1_CMD		0x170f9
				MX6SL_PAD_SD1_CLK__SD1_CLK		0x100f9
				MX6SL_PAD_SD1_DAT0__SD1_DATA0		0x170f9
				MX6SL_PAD_SD1_DAT1__SD1_DATA1		0x170f9
				MX6SL_PAD_SD1_DAT2__SD1_DATA2		0x170f9
				MX6SL_PAD_SD1_DAT3__SD1_DATA3		0x170f9
				MX6SL_PAD_SD1_DAT4__SD1_DATA4		0x170f9
				MX6SL_PAD_SD1_DAT5__SD1_DATA5		0x170f9
				MX6SL_PAD_SD1_DAT6__SD1_DATA6		0x170f9
				MX6SL_PAD_SD1_DAT7__SD1_DATA7		0x170f9
			>;
		};

		pinctrl_usdhc2: usdhc2grp {
			fsl,pins = <
				MX6SL_PAD_SD2_CMD__SD2_CMD		0x17059
				MX6SL_PAD_SD2_CLK__SD2_CLK		0x10059
				MX6SL_PAD_SD2_DAT0__SD2_DATA0		0x17059
				MX6SL_PAD_SD2_DAT1__SD2_DATA1		0x17059
				MX6SL_PAD_SD2_DAT2__SD2_DATA2		0x17059
				MX6SL_PAD_SD2_DAT3__SD2_DATA3		0x17059
			>;
		};

		pinctrl_usdhc2_100mhz: usdhc2grp100mhz {
			fsl,pins = <
				MX6SL_PAD_SD2_CMD__SD2_CMD		0x170b9
				MX6SL_PAD_SD2_CLK__SD2_CLK		0x100b9
				MX6SL_PAD_SD2_DAT0__SD2_DATA0		0x170b9
				MX6SL_PAD_SD2_DAT1__SD2_DATA1		0x170b9
				MX6SL_PAD_SD2_DAT2__SD2_DATA2		0x170b9
				MX6SL_PAD_SD2_DAT3__SD2_DATA3		0x170b9
			>;
		};

		pinctrl_usdhc2_200mhz: usdhc2grp200mhz {
			fsl,pins = <
				MX6SL_PAD_SD2_CMD__SD2_CMD		0x170f9
				MX6SL_PAD_SD2_CLK__SD2_CLK		0x100f9
				MX6SL_PAD_SD2_DAT0__SD2_DATA0		0x170f9
				MX6SL_PAD_SD2_DAT1__SD2_DATA1		0x170f9
				MX6SL_PAD_SD2_DAT2__SD2_DATA2		0x170f9
				MX6SL_PAD_SD2_DAT3__SD2_DATA3		0x170f9
			>;
		};

		pinctrl_usdhc3: usdhc3grp {
			fsl,pins = <
				MX6SL_PAD_SD3_CMD__SD3_CMD		0x17059
				MX6SL_PAD_SD3_CLK__SD3_CLK		0x10059
				MX6SL_PAD_SD3_DAT0__SD3_DATA0		0x17059
			>;
		};

		pinctrl_usdhc3_100mhz: usdhc3grp100mhz {
			fsl,pins = <
				MX6SL_PAD_SD3_CMD__SD3_CMD		0x170b9
				MX6SL_PAD_SD3_CLK__SD3_CLK		0x100b9
				MX6SL_PAD_SD3_DAT0__SD3_DATA0		0x170b9
			>;
		};

		pinctrl_usdhc3_200mhz: usdhc3grp200mhz {
			fsl,pins = <
				MX6SL_PAD_SD3_CMD__SD3_CMD		0x170f9
				MX6SL_PAD_SD3_CLK__SD3_CLK		0x100f9
				MX6SL_PAD_SD3_DAT0__SD3_DATA0		0x170f9
			>;
		};
		/*
		pinctrl_csi_0: csigrp-0 {
			fsl,pins = <
				MX6SL_PAD_EPDC_GDRL__CSI_MCLK	0x110b0
				MX6SL_PAD_EPDC_GDCLK__CSI_PIXCLK 0x110b0
				MX6SL_PAD_EPDC_GDSP__CSI_VSYNC	0x110b0
				MX6SL_PAD_EPDC_GDOE__CSI_HSYNC	0x110b0
				MX6SL_PAD_EPDC_SDLE__CSI_DATA09	0x110b0
				MX6SL_PAD_EPDC_SDCLK__CSI_DATA08 0x110b0
				MX6SL_PAD_EPDC_D7__CSI_DATA07	0x110b0
				MX6SL_PAD_EPDC_D6__CSI_DATA06	0x110b0
				MX6SL_PAD_EPDC_D5__CSI_DATA05	0x110b0
				MX6SL_PAD_EPDC_D4__CSI_DATA04	0x110b0
				MX6SL_PAD_EPDC_D3__CSI_DATA03	0x110b0
				MX6SL_PAD_EPDC_D2__CSI_DATA02	0x110b0
				MX6SL_PAD_EPDC_D1__CSI_DATA01	0x110b0
				MX6SL_PAD_EPDC_D0__CSI_DATA00	0x110b0
				MX6SL_PAD_EPDC_SDSHR__GPIO1_IO26 0x80000000
				MX6SL_PAD_EPDC_SDOE__GPIO1_IO25	 0x80000000
			>;
		};*/
	};
};

&pxp {
	status = "okay";
};

&kpp {
	pinctrl-names = "default";
	pinctrl-0 = <&pinctrl_kpp>;
	linux,keymap = <
			MATRIX_KEY(0x1, 0x1, KEY_UP)
			MATRIX_KEY(0x2, 0x1, KEY_DOWN)
			MATRIX_KEY(0x2, 0x0, KEY_BACK)
			MATRIX_KEY(0x1, 0x2, KEY_POWER)
			MATRIX_KEY(0x0, 0x2, KEY_RIGHT)
			MATRIX_KEY(0x1, 0x0, KEY_LEFT)
			MATRIX_KEY(0x0, 0x1, KEY_VOLUMEDOWN)
			MATRIX_KEY(0x0, 0x0, KEY_VOLUMEUP)
	>;
	status = "okay";
};

&lcdif {
	pinctrl-names = "default";
	pinctrl-0 = <&pinctrl_lcdif_dat
		     &pinctrl_lcdif_ctrl>;
	lcd-supply = <&reg_lcd_3v3>;
	display = <&display>;
	
	status = "disabled";

	display: display {
		bits-per-pixel = <16>;
		bus-width = <24>;

		display-timings {
			native-mode = <&timing0>;
			timing0: timing0 {
				clock-frequency = <33500000>;
				hactive = <800>;
				vactive = <480>;
				hback-porch = <89>;
				hfront-porch = <164>;
				vback-porch = <23>;
				vfront-porch = <10>;
				hsync-len = <10>;
				vsync-len = <10>;
				hsync-active = <0>;
				vsync-active = <0>;
				de-active = <1>;
				pixelclk-active = <0>;
			};
		};
	};
};


&pwm1 {
	pinctrl-names = "default", "sleep";
	pinctrl-0 = <&pinctrl_pwm1>;
	pinctrl-1 = <&pinctrl_pwm1_sleep>;
	status = "okay";
};

&spdif {
	pinctrl-names = "default";
	pinctrl-0 = <&pinctrl_spdif>;
	assigned-clocks = <&clks IMX6SL_CLK_SPDIF0_SEL>,
			  <&clks IMX6SL_CLK_SPDIF0_PODF>;
	assigned-clock-parents = <&clks IMX6SL_CLK_PLL3_PFD3>;
	assigned-clock-rates = <0>, <227368421>;
	status = "okay";
};

&ssi2 {
	fsl,mode = "i2s-slave";
	assigned-clocks = <&clks IMX6SL_CLK_SSI2_SEL>,
			  <&clks IMX6SL_CLK_SSI2>;
	assigned-clock-rates = <0>, <24000000>;
	status = "okay";
};

&uart1 {
	pinctrl-names = "default";
	pinctrl-0 = <&pinctrl_uart1>;
	status = "okay";
};

&usbotg1 {
	vbus-supply = <&reg_usb_otg1_vbus>;
	pinctrl-names = "default";
	pinctrl-0 = <&pinctrl_usbotg1>;
/*	disable-over-current;
	srp-disable;
	hnp-disable;
	adp-disable;*/
	status = "okay";
};

&usbotg2 {
	vbus-supply = <&reg_usb_otg2_vbus>;
	dr_mode = "host";
	disable-over-current;
	status = "okay";
};

&usdhc1 {
	pinctrl-names = "default";
	pinctrl-0 = <&pinctrl_usdhc1>;
	pinctrl-1 = <&pinctrl_usdhc1_100mhz>;
	pinctrl-2 = <&pinctrl_usdhc1_200mhz>;
	bus-width = <4>;
	cd-gpios = <&gpio4 7 0>;
	wp-gpios = <&gpio4 6 0>;
	keep-power-in-suspend;
	enable-sdio-wakeup;
	wifi-host;
	pm-ignore-notify;
	status = "okay";
};

&usdhc2 {
	pinctrl-names = "default", "state_100mhz", "state_200mhz";
	pinctrl-0 = <&pinctrl_usdhc2>;
	pinctrl-1 = <&pinctrl_usdhc2_100mhz>;
	pinctrl-2 = <&pinctrl_usdhc2_200mhz>;
	cd-gpios = <&gpio5 0 0>;
	wp-gpios = <&gpio4 29 0>;
	keep-power-in-suspend;
	enable-sdio-wakeup;
	status = "okay";
};

&usdhc3 {
	pinctrl-names = "default";
	pinctrl-0 = <&pinctrl_usdhc3>;
	bus-width = <1>;
	status = "okay";
};
